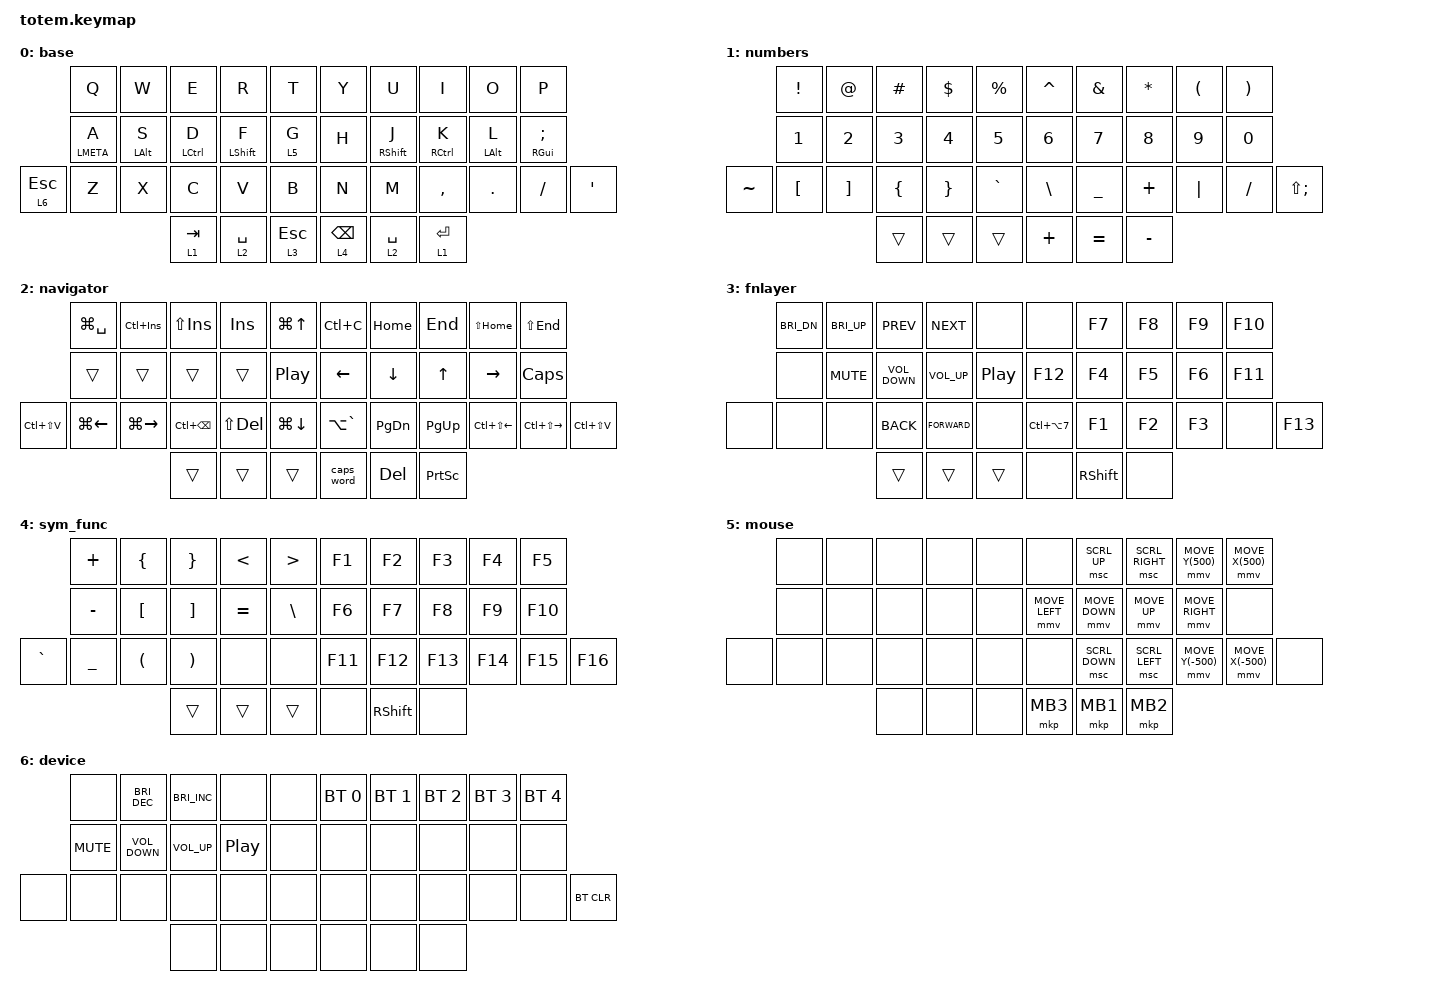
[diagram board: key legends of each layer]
//
//                                                        ▀▀▀▀▀     ▀▀▀▀▀          ▀▀█▀▀
//                                                        ▄▀▀▀▄  ▄  ▄▀▀▀▄  ▄  ▄▀▀▀▄  █  ▄▀▀▀▄
//                                                        █   █  █  █   █  █  █   █  █  █   █
//                                                         ▀▀▀   █   ▀▀▀   █   ▀▀▀   ▀   ▀▀▀
//                                                               █      ▄▄▄█▄▄▄    █   █  
//                                                               ▀      █  █  █     █▄█
//                                                             ▀▀▀▀▀    █  █  █      ▀
//                                                                      ▀  ▀  ▀
//
// ▄▄▄▄▄▄▄▄▄▄▄▄▄▄▄▄▄▄▄▄▄▄▄▄▄▄▄▄▄▄▄▄▄▄▄▄▄▄▄▄▄▄▄▄▄▄▄▄▄▄▄▄▄▄▄▄▄▄▄▄▄▄▄▄▄▄▄▄▄▄▄▄▄▄▄▄▄▄▄▄▄▄▄▄▄▄▄▄▄▄▄▄▄▄▄▄▄▄▄▄▄▄▄▄▄▄▄▄▄▄▄▄▄▄▄▄▄▄▄▄▄▄▄▄▄▄▄▄▄▄▄▄▄▄▄▄▄▄▄▄▄▄▄▄▄▄▄▄▄

#include <behaviors.dtsi>
#include <dt-bindings/zmk/bt.h>
#include <dt-bindings/zmk/keys.h>
#include <dt-bindings/zmk/pointing.h>

&lt {
    quick-tap-ms = <180>;
    tapping-term-ms = <205>;
    flavor = "tap-preferred";
};

// https://zmk.dev/docs/keymaps/behaviors/hold-tap#require-prior-idle-ms

/ {
    behaviors {
        hm: homerow_mods {
            compatible = "zmk,behavior-hold-tap";
            label = "HOMEROW_MODS";
            #binding-cells = <2>;
            flavor = "tap-preferred";
            quick-tap-ms = <180>;
            tapping-term-ms = <200>;
            require-prior-idle-ms = <90>;
            bindings = <&kp>, <&kp>;
        };
    };

    combos {
        compatible = "zmk,combos";

        l_enter {
            bindings = <&kp ENTER>;
            key-positions = <12 13>;
            layers = <0>;
            timeout-ms = <50>;
        };

        l_del {
            bindings = <&kp DEL>;
            key-positions = <12 11>;
            timeout-ms = <50>;
        };

        l_bsp {
            bindings = <&kp BACKSPACE>;
            key-positions = <23 24>;
            timeout-ms = <50>;
        };

        r_under {
            bindings = <&kp UNDER>;
            key-positions = <27 28>;
            timeout-ms = <50>;
        };
    };

    keymap {
        compatible = "zmk,keymap";

        base {
            bindings = <
              &kp Q        &kp W           &kp E               &kp R             &kp T           &kp Y            &kp U              &kp I                &kp O           &kp P
              &hm LMETA A  &hm LEFT_ALT S  &hm LEFT_CONTROL D  &hm LEFT_SHIFT F  &lt 5 G         &kp H            &hm RIGHT_SHIFT J  &hm RIGHT_CONTROL K  &hm LEFT_ALT L  &hm RIGHT_GUI SEMI
&lt 6 ESCAPE  &kp Z        &kp X           &kp C               &kp V             &kp B           &kp N            &kp M              &kp COMMA            &kp DOT         &kp FSLH            &kp APOS
                                           &lt 1 TAB           &lt 2 SPACE       &lt 3 ESCAPE    &lt 4 BACKSPACE  &lt 2 SPACE        &lt 1 ENTER
            >;
        };

        numbers {
            bindings = <
           &kp EXCLAMATION   &kp AT_SIGN        &kp POUND       &kp DOLLAR       &kp PERCENT    &kp CARET      &kp AMPERSAND  &kp ASTERISK  &kp LEFT_PARENTHESIS  &kp RIGHT_PARENTHESIS
           &kp N1            &kp NUMBER_2       &kp NUMBER_3    &kp NUMBER_4     &kp N5         &kp NUMBER_6   &kp N7         &kp N8        &kp N9                &kp N0
&kp TILDE  &kp LEFT_BRACKET  &kp RIGHT_BRACKET  &kp LEFT_BRACE  &kp RIGHT_BRACE  &kp GRAVE      &kp BACKSLASH  &kp UNDER      &kp PLUS      &kp PIPE              &kp FSLH               &kp LS(SEMI)
                                                &trans          &trans           &trans         &kp PLUS       &kp EQUAL      &kp MINUS
            >;
        };

        navigator {
            bindings = <
               &kp LG(SPACE)       &kp LC(INS)          &kp LS(INSERT)     &kp INS      &kp LG(UP_ARROW)      &kp LC(C)       &kp HOME        &kp END          &kp LS(HOME)            &kp LS(END)
               &trans              &trans               &trans             &trans       &kp C_PLAY_PAUSE      &kp LEFT_ARROW  &kp DOWN_ARROW  &kp UP_ARROW     &kp RIGHT_ARROW         &kp CAPS
&kp LC(LS(V))  &kp LG(LEFT_ARROW)  &kp LG(RIGHT_ARROW)  &kp LC(BACKSPACE)  &kp LS(DEL)  &kp LG(DOWN_ARROW)    &kp LA(GRAVE)   &kp PAGE_DOWN   &kp PAGE_UP      &kp LC(LS(LEFT_ARROW))  &kp LC(LS(RIGHT))  &kp LC(LS(V))
                                                        &trans             &trans       &trans                &caps_word      &kp DEL         &kp PRINTSCREEN
            >;
        };

        fnlayer {
            bindings = <
       &kp C_BRI_DN  &kp C_BRI_UP  &kp C_PREV         &kp C_NEXT       &none               &none           &kp F7           &kp F8  &kp F9  &kp F10
       &none         &kp K_MUTE    &kp C_VOLUME_DOWN  &kp C_VOLUME_UP  &kp C_PLAY_PAUSE    &kp F12         &kp F4           &kp F5  &kp F6  &kp F11
&none  &none         &none         &kp K_BACK         &kp K_FORWARD    &none               &kp LC(LA(N7))  &kp F1           &kp F2  &kp F3  &none    &kp F13
                                   &trans             &trans           &trans              &none           &kp RIGHT_SHIFT  &none
            >;
        };

        sym_func {
            bindings = <
           &kp PLUS   &kp LEFT_BRACE        &kp RIGHT_BRACE        &kp LESS_THAN  &kp GREATER_THAN    &kp F1   &kp F2           &kp F3   &kp F4   &kp F5
           &kp MINUS  &kp LBKT              &kp RBKT               &kp EQUAL      &kp BSLH            &kp F6   &kp F7           &kp F8   &kp F9   &kp F10
&kp GRAVE  &kp UNDER  &kp LEFT_PARENTHESIS  &kp RIGHT_PARENTHESIS  &none          &none               &kp F11  &kp F12          &kp F13  &kp F14  &kp F15  &kp F16
                                            &trans                 &trans         &trans              &none    &kp RIGHT_SHIFT  &none
            >;
        };

        mouse {
            bindings = <
       &none  &none  &none  &none  &none    &none           &msc SCRL_UP    &msc SCRL_RIGHT  &mmv MOVE_Y(500)   &mmv MOVE_X(500)
       &none  &none  &none  &none  &none    &mmv MOVE_LEFT  &mmv MOVE_DOWN  &mmv MOVE_UP     &mmv MOVE_RIGHT    &none
&none  &none  &none  &none  &none  &none    &none           &msc SCRL_DOWN  &msc SCRL_LEFT   &mmv MOVE_Y(-500)  &mmv MOVE_X(-500)  &none
                     &none  &none  &none    &mkp MB3        &mkp MB1        &mkp MB2
            >;
        };

        device {
            bindings = <
       &none       &kp C_BRIGHTNESS_DEC  &kp C_BRIGHTNESS_INC  &none             &none    &bt BT_SEL 0  &bt BT_SEL 1  &bt BT_SEL 2  &bt BT_SEL 3  &bt BT_SEL 4
       &kp K_MUTE  &kp C_VOLUME_DOWN     &kp C_VOLUME_UP       &kp C_PLAY_PAUSE  &none    &none         &none         &none         &none         &none
&none  &none       &none                 &none                 &none             &none    &none         &none         &none         &none         &none         &bt BT_CLR
                                         &none                 &none             &none    &none         &none         &none
            >;
        };
    };

    conditional_layers {
        compatible = "zmk,conditional-layers";

        device {
            if-layers = <2 4>;
            then-layer = <6>;
        };
    };
};
